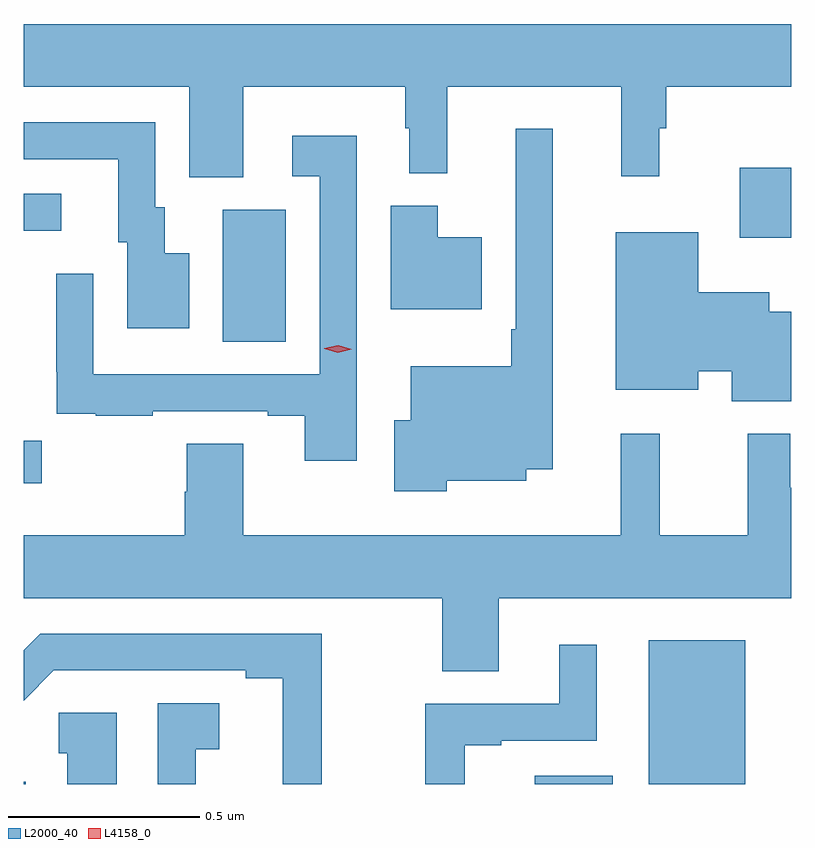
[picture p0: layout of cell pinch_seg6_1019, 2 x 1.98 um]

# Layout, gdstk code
import gdstk
lib = gdstk.Library(unit=1e-6, precision=1e-09)
def R(c, l, rs):  # rectangles x0, y0, x1, y1
    for r in rs: c.add(gdstk.rectangle(r[:2], r[2:], *l))
def P(c, l, *ps):  # polygons
    for p in ps: c.add(gdstk.Polygon(p, *l))
L2000_40 = (2000, 40)
L4158_0 = (4158, 0)

pinch_seg6_1019 = lib.new_cell('pinch_seg6_1019')
R(pinch_seg6_1019, L2000_40, [(293.381,918.88,293.386,918.886), (294.713,918.88,294.916,918.901), (295.01,918.88,295.261,919.255), (293.381,919.664,293.428,919.774), (293.9,920.032,294.064,920.376), (295.247,920.303,295.381,920.485), (293.381,920.322,293.479,920.418)])
P(pinch_seg6_1019, L2000_40, [(293.953,920.696),(294.375,920.696),(294.375,920.589),(294.386,920.589),(294.386,920.471),(294.485,920.471),(294.485,920.696),(294.938,920.696),(294.938,920.463),(295.037,920.463),(295.037,920.588),(295.055,920.588),(295.055,920.696),(295.381,920.696),(295.381,920.86),(293.381,920.86),(293.381,920.696),(293.813,920.696),(293.813,920.461),(293.953,920.461)],
  [(293.812,920.263),(293.749,920.263),(293.749,920.382),(293.724,920.382),(293.724,920.604),(293.381,920.604),(293.381,920.508),(293.627,920.508),(293.627,920.292),(293.651,920.292),(293.651,920.067),(293.812,920.067)],
  [(294.483,919.67),(294.691,919.67),(294.691,919.7),(294.76,919.7),(294.76,920.587),(294.663,920.587),(294.663,920.065),(294.651,920.065),(294.651,919.969),(294.389,919.969),(294.389,919.828),(294.347,919.828),(294.347,919.643),(294.483,919.643)],
  [(294.249,920.569),(294.081,920.569),(294.081,920.463),(294.153,920.463),(294.153,919.947),(293.562,919.947),(293.562,920.209),(293.466,920.209),(293.466,919.954),(293.467,919.954),(293.467,919.845),(293.569,919.845),(293.569,919.839),(293.717,919.839),(293.717,919.851),(294.017,919.851),(294.017,919.839),(294.113,919.839),(294.113,919.722),(294.249,919.722)],
  [(294.574,920.305),(294.46,920.305),(294.46,920.386),(294.338,920.386),(294.338,920.117),(294.574,920.117)],
  [(295.381,920.11),(295.324,920.11),(295.324,920.161),(295.138,920.161),(295.138,920.317),(294.923,920.317),(294.923,919.907),(295.138,919.907),(295.138,919.955),(295.226,919.955),(295.226,919.877),(295.381,919.877)],
  [(294.619,919.364),(295.381,919.364),(295.381,919.652),(295.378,919.652),(295.378,919.792),(295.267,919.792),(295.267,919.528),(295.038,919.528),(295.038,919.792),(294.937,919.792),(294.937,919.528),(293.953,919.528),(293.953,919.766),(293.806,919.766),(293.806,919.641),(293.801,919.641),(293.801,919.528),(293.381,919.528),(293.381,919.364),(294.472,919.364),(294.472,919.174),(294.619,919.174)],
  [(294.158,919.272),(293.424,919.272),(293.381,919.229),(293.381,919.097),(293.46,919.176),(293.96,919.176),(293.96,919.156),(294.056,919.156),(294.056,918.88),(294.158,918.88)],
  [(294.53,918.981),(294.625,918.981),(294.625,918.993),(294.874,918.993),(294.874,919.243),(294.776,919.243),(294.776,919.089),(294.427,919.089),(294.427,918.88),(294.53,918.88)],
  [(293.829,918.971),(293.89,918.971),(293.89,919.091),(293.73,919.091),(293.73,918.88),(293.829,918.88)],
  [(293.623,919.066),(293.473,919.066),(293.473,918.96),(293.495,918.96),(293.495,918.88),(293.623,918.88)])
P(pinch_seg6_1019, L4158_0, [(294.199,920.003),(294.164,920.014),(294.164,920.015),(294.164,920.015),(294.2,920.023),(294.236,920.012),(294.236,920.012),(294.236,920.012)])

lib.write_gds('pinch_seg6_1019.gds')
